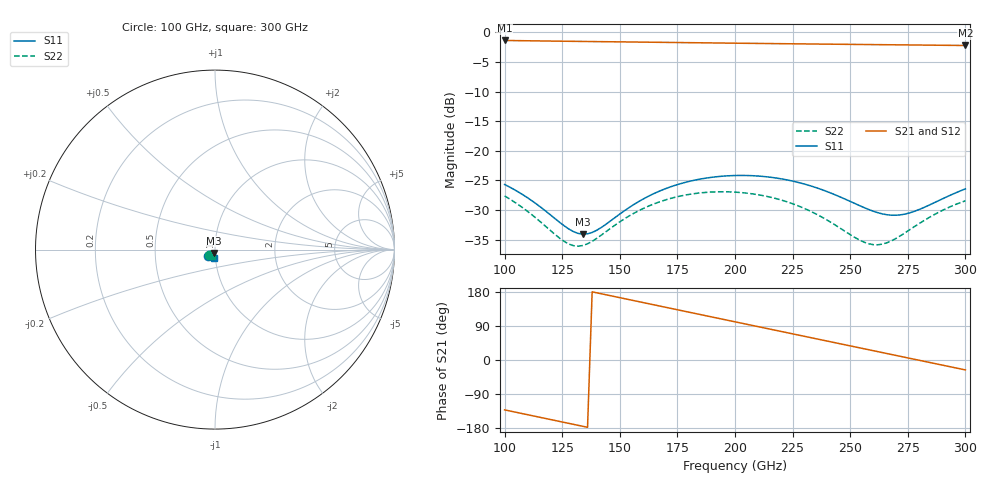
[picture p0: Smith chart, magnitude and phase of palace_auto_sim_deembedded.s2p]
! Created with skrf 1.11.0 (http://scikit-rf.org).
# GHz S DB R 50.0
!freq dBS11 angS11 dBS21 angS21 dBS12 angS12 dBS22 angS22
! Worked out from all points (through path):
!   101 points, 100 GHz to 300 GHz, reference 50 ohm
!   highest |S21| = -1.37 dB at 100 GHz (marker M1); lowest = -2.2 dB at 300 GHz (marker M2)
!   group delay of S21, straight-line fit = 3.53 ps
!   lowest |S11| = -34.1 dB at 134 GHz (marker M3), VSWR 1.04, Z = 49.2 - j1.78 ohm
!   |S11| at or under -10 dB: start of sweep to end of sweep
!   |S22| runs from -36.1 to -26.9 dB; largest |S21 - S12| = 9.1e-14
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100  -25.69 -134.9  -1.37 -131.6  -1.37 -131.6  -27.62 -138.3
114  -29.03 -142.5  -1.44 -149.5  -1.44 -149.5  -31.48 -145.4
126  -32.71 -133.8  -1.50 -164.8  -1.50 -164.8  -35.34 -132.5
130  -33.67 -125.1  -1.52 -169.9  -1.52 -169.9  -36.03 -122.1
134  -34.08 -114.0  -1.54 -175.1  -1.54 -175.1  -35.99 -110.8
140  -33.41 -98.1  -1.56 177.3  -1.56 177.3  -34.78 -97.7
150  -30.68 -85.1  -1.61 164.5  -1.61 164.5  -31.99 -90.7
158  -28.62 -84.4  -1.64 154.3  -1.64 154.3  -30.16 -93.2
168  -26.68 -88.9  -1.69 141.5  -1.69 141.5  -28.52 -100.5
184  -24.84 -101.1  -1.76 121.1  -1.76 121.1  -27.15 -116.0
200  -24.18 -114.8  -1.83 100.8  -1.83 100.8  -26.98 -132.3
208  -24.21 -121.5  -1.86 90.6  -1.86 90.6  -27.29 -140.2
216  -24.50 -127.8  -1.90 80.4  -1.90 80.4  -27.89 -147.6
224  -25.03 -133.5  -1.93 70.3  -1.93 70.3  -28.80 -154.1
234  -26.07 -139.0  -1.97 57.6  -1.97 57.6  -30.44 -159.9
246  -27.85 -141.4  -2.02 42.4  -2.02 42.4  -33.15 -159.7
256  -29.58 -137.2  -2.05 29.7  -2.05 29.7  -35.42 -147.0
262  -30.45 -130.7  -2.08 22.0  -2.08 22.0  -35.87 -133.5
268  -30.88 -121.7  -2.10 14.4  -2.10 14.4  -35.18 -120.5
276  -30.46 -109.2  -2.13 4.3  -2.13 4.3  -33.28 -110.5
284  -29.22 -100.7  -2.16 -5.9  -2.16 -5.9  -31.32 -108.4
300  -26.43 -97.4  -2.22 -26.2  -2.22 -26.2  -28.44 -115.8
